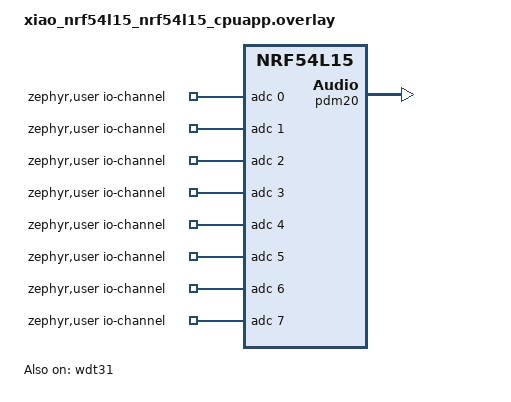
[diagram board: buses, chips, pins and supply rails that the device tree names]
/ {
	zephyr,user {
		io-channels = <&adc 0>, <&adc 1>, <&adc 2>, <&adc 3>,
			<&adc 4>, <&adc 5>, <&adc 6>, <&adc 7>;
	};
};

&wdt31 {
	status = "okay";
};

dmic_dev: &pdm20 {
    status = "okay";
};
